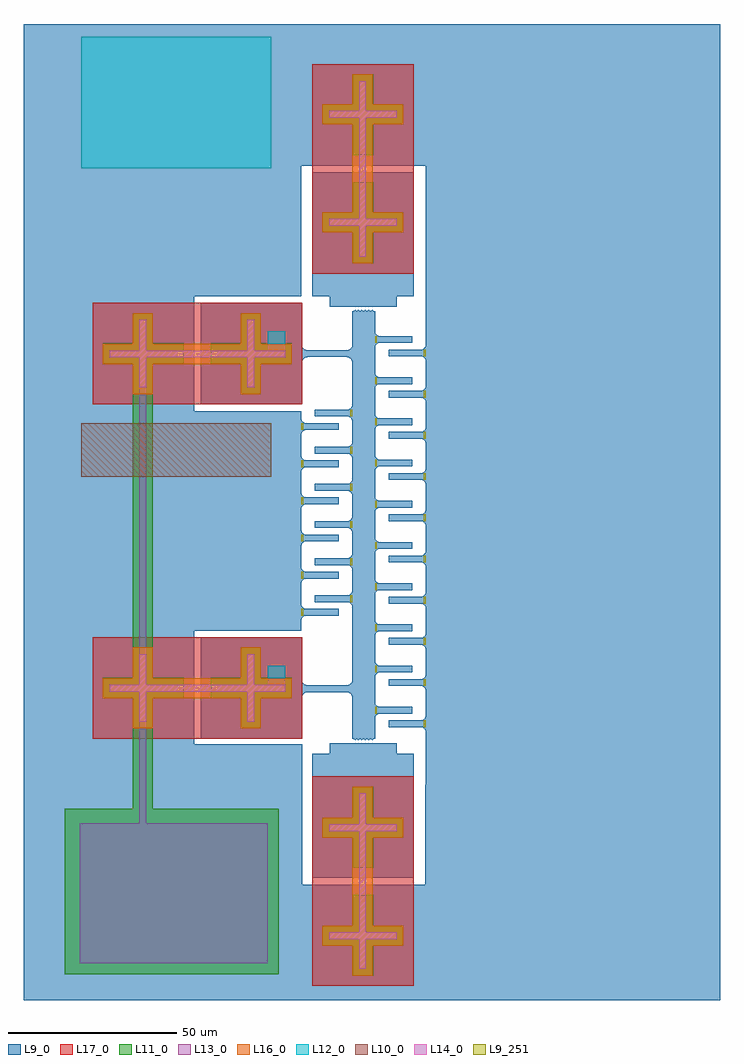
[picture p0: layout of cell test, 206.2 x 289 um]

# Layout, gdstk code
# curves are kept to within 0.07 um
import gdstk
lib = gdstk.Library(unit=1e-6, precision=1e-09)
def R(c, l, rs):  # rectangles x0, y0, x1, y1
    for r in rs: c.add(gdstk.rectangle(r[:2], r[2:], *l))
def A(c, l, x, y, w, h, nx, ny, dx, dy):  # array of equal rectangles
    R(c, l, [(x+i*dx, y+j*dy, x+i*dx+w, y+j*dy+h) for i in range(nx) for j in range(ny)])
def P(c, l, *ps):  # polygons
    for p in ps: c.add(gdstk.Polygon(p, *l))
L9_0 = (9, 0)
L9_251 = (9, 251)
L10_0 = (10, 0)
L11_0 = (11, 0)
L12_0 = (12, 0)
L13_0 = (13, 0)
L14_0 = (14, 0)
L16_0 = (16, 0)
L17_0 = (17, 0)

test = lib.new_cell('test')
A(test, L9_0, 108, 80.8, 11, 2, 1, 10, 0, 12.2)
A(test, L9_0, 104, 84.8, 11, 2, 1, 10, 0, 12.2)
A(test, L9_0, 82.2, 113.8, 11, 2, 1, 6, 0, 11)
A(test, L9_0, 86.2, 117.8, 11, 2, 1, 6, 0, 11)
R(test, L9_0, [(0,0,17,289), (17,0,50.4,218.6), (50.4,0,85.4,34.2), (85.4,0,115.4,4.2), (115.4,0,206.2,34.2), (85.4,4.2,115.4,34.2), (50.4,34.2,82.4,75.7), (118.8,34.2,206.2,63.7), (85.4,36.2,115.4,66.2), (119,63.7,206.2,247.1), (85.4,66.2,115.4,72.9), (90.6,72.9,110.5,76), (20.4,77.4,50.4,107.4), (52.4,77.4,82.4,107.4), (52.4,77.4,82.4,107.4), (97.2,77.4,104,203.9), (82.4,91.2,97.2,93.2), (50.4,109.4,82.2,174.4), (20.4,176.4,50.4,206.4), (52.4,176.4,82.4,206.4), (52.4,176.4,82.4,206.4), (83.9,190.4,95.673,192.4), (90.6,205.3,110.5,208.4), (50.4,208.4,82.2,218.6), (85.4,208.4,115.4,215.1), (85.4,215.1,115.4,245.1), (17,218.6,82.2,289), (82.2,247.1,85.4,289), (85.4,247.1,115.4,277.1), (115.4,247.1,206.2,289), (85.4,277.1,115.4,289)])
P(test, L9_0, [(82.2,167.8),(82.2,168.8),(83.2,168.8),(82.88,168.629),(82.6,168.4),(82.371,168.12)],
  [(82.2,171.8),(82.2,170.8),(83.2,170.8),(82.88,170.971),(82.6,171.2),(82.371,171.48)],
  [(97.2,171.8),(97.2,172.8),(96.2,172.8),(96.52,172.629),(96.8,172.4),(97.029,172.12)],
  [(97.2,175.8),(97.2,174.8),(96.2,174.8),(96.52,174.971),(96.8,175.2),(97.029,175.48)],
  [(82.2,156.8),(82.2,157.8),(83.2,157.8),(82.88,157.629),(82.6,157.4),(82.371,157.12)],
  [(82.2,160.8),(82.2,159.8),(83.2,159.8),(82.88,159.971),(82.6,160.2),(82.371,160.48)],
  [(97.2,160.8),(97.2,161.8),(96.2,161.8),(96.52,161.629),(96.8,161.4),(97.029,161.12)],
  [(97.2,164.8),(97.2,163.8),(96.2,163.8),(96.52,163.971),(96.8,164.2),(97.029,164.48)],
  [(82.2,145.8),(82.2,146.8),(83.2,146.8),(82.88,146.629),(82.6,146.4),(82.371,146.12)],
  [(82.2,149.8),(82.2,148.8),(83.2,148.8),(82.88,148.971),(82.6,149.2),(82.371,149.48)],
  [(97.2,149.8),(97.2,150.8),(96.2,150.8),(96.52,150.629),(96.8,150.4),(97.029,150.12)],
  [(97.2,153.8),(97.2,152.8),(96.2,152.8),(96.52,152.971),(96.8,153.2),(97.029,153.48)],
  [(82.2,134.8),(82.2,135.8),(83.2,135.8),(82.88,135.629),(82.6,135.4),(82.371,135.12)],
  [(82.2,138.8),(82.2,137.8),(83.2,137.8),(82.88,137.971),(82.6,138.2),(82.371,138.48)],
  [(97.2,138.8),(97.2,139.8),(96.2,139.8),(96.52,139.629),(96.8,139.4),(97.029,139.12)],
  [(97.2,142.8),(97.2,141.8),(96.2,141.8),(96.52,141.971),(96.8,142.2),(97.029,142.48)],
  [(82.2,123.8),(82.2,124.8),(83.2,124.8),(82.88,124.629),(82.6,124.4),(82.371,124.12)],
  [(82.2,127.8),(82.2,126.8),(83.2,126.8),(82.88,126.971),(82.6,127.2),(82.371,127.48)],
  [(97.2,127.8),(97.2,128.8),(96.2,128.8),(96.52,128.629),(96.8,128.4),(97.029,128.12)],
  [(97.2,131.8),(97.2,130.8),(96.2,130.8),(96.52,130.971),(96.8,131.2),(97.029,131.48)],
  [(82.2,112.8),(82.2,113.8),(83.2,113.8),(82.88,113.629),(82.6,113.4),(82.371,113.12)],
  [(82.2,116.8),(82.2,115.8),(83.2,115.8),(82.88,115.971),(82.6,116.2),(82.371,116.48)],
  [(97.2,116.8),(97.2,117.8),(96.2,117.8),(96.52,117.629),(96.8,117.4),(97.029,117.12)],
  [(97.2,120.8),(97.2,119.8),(96.2,119.8),(96.52,119.971),(96.8,120.2),(97.029,120.48)],
  [(119,189.6),(119,190.6),(118,190.6),(118.32,190.429),(118.6,190.2),(118.829,189.92)],
  [(119,193.6),(119,192.6),(118,192.6),(118.32,192.771),(118.6,193),(118.829,193.28)],
  [(104,193.6),(104,194.6),(105,194.6),(104.68,194.429),(104.4,194.2),(104.171,193.92)],
  [(104,197.6),(104,196.6),(105,196.6),(104.68,196.771),(104.4,197),(104.171,197.28)],
  [(119,177.4),(119,178.4),(118,178.4),(118.32,178.229),(118.6,178),(118.829,177.72)],
  [(119,181.4),(119,180.4),(118,180.4),(118.32,180.571),(118.6,180.8),(118.829,181.08)],
  [(104,181.4),(104,182.4),(105,182.4),(104.68,182.229),(104.4,182),(104.171,181.72)],
  [(104,185.4),(104,184.4),(105,184.4),(104.68,184.571),(104.4,184.8),(104.171,185.08)],
  [(119,165.2),(119,166.2),(118,166.2),(118.32,166.029),(118.6,165.8),(118.829,165.52)],
  [(119,169.2),(119,168.2),(118,168.2),(118.32,168.371),(118.6,168.6),(118.829,168.88)],
  [(104,169.2),(104,170.2),(105,170.2),(104.68,170.029),(104.4,169.8),(104.171,169.52)],
  [(104,173.2),(104,172.2),(105,172.2),(104.68,172.371),(104.4,172.6),(104.171,172.88)],
  [(119,153),(119,154),(118,154),(118.32,153.829),(118.6,153.6),(118.829,153.32)],
  [(119,157),(119,156),(118,156),(118.32,156.171),(118.6,156.4),(118.829,156.68)],
  [(104,157),(104,158),(105,158),(104.68,157.829),(104.4,157.6),(104.171,157.32)],
  [(104,161),(104,160),(105,160),(104.68,160.171),(104.4,160.4),(104.171,160.68)],
  [(119,140.8),(119,141.8),(118,141.8),(118.32,141.629),(118.6,141.4),(118.829,141.12)],
  [(119,144.8),(119,143.8),(118,143.8),(118.32,143.971),(118.6,144.2),(118.829,144.48)],
  [(104,144.8),(104,145.8),(105,145.8),(104.68,145.629),(104.4,145.4),(104.171,145.12)],
  [(104,148.8),(104,147.8),(105,147.8),(104.68,147.971),(104.4,148.2),(104.171,148.48)],
  [(119,128.6),(119,129.6),(118,129.6),(118.32,129.429),(118.6,129.2),(118.829,128.92)],
  [(119,132.6),(119,131.6),(118,131.6),(118.32,131.771),(118.6,132),(118.829,132.28)],
  [(104,132.6),(104,133.6),(105,133.6),(104.68,133.429),(104.4,133.2),(104.171,132.92)],
  [(104,136.6),(104,135.6),(105,135.6),(104.68,135.771),(104.4,136),(104.171,136.28)],
  [(119,116.4),(119,117.4),(118,117.4),(118.32,117.229),(118.6,117),(118.829,116.72)],
  [(119,120.4),(119,119.4),(118,119.4),(118.32,119.571),(118.6,119.8),(118.829,120.08)],
  [(104,120.4),(104,121.4),(105,121.4),(104.68,121.229),(104.4,121),(104.171,120.72)],
  [(104,124.4),(104,123.4),(105,123.4),(104.68,123.571),(104.4,123.8),(104.171,124.08)],
  [(119,104.2),(119,105.2),(118,105.2),(118.32,105.029),(118.6,104.8),(118.829,104.52)],
  [(119,108.2),(119,107.2),(118,107.2),(118.32,107.371),(118.6,107.6),(118.829,107.88)],
  [(104,108.2),(104,109.2),(105,109.2),(104.68,109.029),(104.4,108.8),(104.171,108.52)],
  [(104,112.2),(104,111.2),(105,111.2),(104.68,111.371),(104.4,111.6),(104.171,111.88)],
  [(119,92),(119,93),(118,93),(118.32,92.829),(118.6,92.6),(118.829,92.32)],
  [(119,96),(119,95),(118,95),(118.32,95.171),(118.6,95.4),(118.829,95.68)],
  [(104,96),(104,97),(105,97),(104.68,96.829),(104.4,96.6),(104.171,96.32)],
  [(104,100),(104,99),(105,99),(104.68,99.171),(104.4,99.4),(104.171,99.68)],
  [(119,79.8),(119,80.8),(118,80.8),(118.32,80.629),(118.6,80.4),(118.829,80.12)],
  [(119,83.8),(119,82.8),(118,82.8),(118.32,82.971),(118.6,83.2),(118.829,83.48)],
  [(104,83.8),(104,84.8),(105,84.8),(104.68,84.629),(104.4,84.4),(104.171,84.12)],
  [(104,87.8),(104,86.8),(105,86.8),(104.68,86.971),(104.4,87.2),(104.171,87.48)],
  [(84,192.4),(83.508,192.465),(83.054,192.665),(82.674,192.986),(82.4,193.4),(82.4,189.2),(82.646,189.667),(83.017,190.041),(83.48,190.293),(83.996,190.4)],
  [(97.6,77.4),(98.1,76.9),(98.6,77.4)],
  [(97.6,203.9),(98.1,204.4),(98.6,203.9)],
  [(95.6,93.2),(96.092,93.265),(96.546,93.465),(96.926,93.786),(97.2,94.2),(97.2,90),(96.954,90.467),(96.583,90.841),(96.12,91.093),(95.604,91.2)],
  [(84,93.2),(83.508,93.265),(83.054,93.465),(82.674,93.786),(82.4,94.2),(82.4,90),(82.646,90.467),(83.017,90.841),(83.48,91.093),(83.996,91.2)],
  [(95.6,192.4),(96.092,192.465),(96.546,192.665),(96.926,192.986),(97.2,193.4),(97.2,189.2),(96.954,189.667),(96.583,190.041),(96.12,190.293),(95.604,190.4)],
  [(98.6,77.4),(99.1,76.9),(99.6,77.4)],
  [(99.6,77.4),(100.1,76.9),(100.6,77.4)],
  [(100.6,77.4),(101.1,76.9),(101.6,77.4)],
  [(101.6,77.4),(102.1,76.9),(102.6,77.4)],
  [(102.6,77.4),(103.1,76.9),(103.6,77.4)],
  [(102.6,203.9),(103.1,204.4),(103.6,203.9)],
  [(101.6,203.9),(102.1,204.4),(102.6,203.9)],
  [(100.6,203.9),(101.1,204.4),(101.6,203.9)],
  [(99.6,203.9),(100.1,204.4),(100.6,203.9)],
  [(98.6,203.9),(99.1,204.4),(99.6,203.9)])
A(test, L9_251, 118.4, 80.8, 0.6, 2, 1, 10, 0, 12.2)
A(test, L9_251, 104, 84.8, 0.5, 2, 1, 10, 0, 12.2)
A(test, L9_251, 82.2, 113.8, 0.6, 2, 1, 6, 0, 11)
A(test, L9_251, 96.7, 117.8, 0.5, 2, 1, 6, 0, 11)
R(test, L10_0, [(17,154.9,73.3,170.8)])
R(test, L11_0, [(97.4,7.2,103.4,31.2), (12.1,7.6,75.5,56.6), (88.4,16,112.4,22), (97.4,39.2,103.4,63.2), (88.4,48,112.4,54), (32.2,80.4,38.2,104.4), (64.2,80.4,70.2,104.4), (23.4,89.4,47.4,95.4), (55.4,89.4,79.4,95.4), (32.2,179.4,38.2,203.4), (64.2,179.4,70.2,203.4), (23.4,188.4,47.4,194.4), (55.4,188.4,79.4,194.4), (97.4,218.1,103.4,242.1), (88.4,227.3,112.4,233.3), (97.4,250.1,103.4,274.1), (88.4,259.3,112.4,265.3)])
R(test, L12_0, [(72.2,95.3,77.4,99), (72.2,194.3,77.4,198), (17,246.3,73.3,285.2)])
R(test, L13_0, [(99.4,9.2,101.4,29.2), (16.6,10.9,72.3,52.3), (90.4,18,110.4,20), (99.4,41.2,101.4,61.2), (90.4,50,110.4,52), (34.2,82.4,36.2,102.4), (66.2,82.4,68.2,102.4), (25.4,91.4,45.4,93.4), (57.4,91.4,77.4,93.4), (72.2,93.3,77.4,95.3), (34.2,181.4,36.2,201.4), (66.2,181.4,68.2,201.4), (25.4,190.4,45.4,192.4), (57.4,190.4,77.4,192.4), (72.2,192.3,77.4,194.3), (99.4,220.1,101.4,240.1), (90.4,229.3,110.4,231.3), (99.4,252.1,101.4,272.1), (90.4,261.3,110.4,263.3)])
R(test, L14_0, [(99.3,9.2,101.3,29.2), (90.4,18,110.4,20), (99.3,29.2,101.3,41.2), (99.3,41.2,101.3,61.2), (90.4,50,110.4,52), (34.2,82.4,36.2,102.4), (66.2,82.4,68.2,102.4), (25.4,91.3,45.4,93.3), (45.4,91.3,57.4,93.3), (57.4,91.3,77.4,93.3), (34.2,181.4,36.2,201.4), (66.2,181.4,68.2,201.4), (25.4,190.3,45.4,192.3), (45.4,190.3,57.4,192.3), (57.4,190.3,77.4,192.3), (99.3,220.1,101.3,240.1), (90.4,229.3,110.4,231.3), (99.3,240.1,101.3,252.1), (99.3,252.1,101.3,272.1), (90.4,261.3,110.4,263.3)])
R(test, L16_0, [(97.3,7.2,103.3,31.2), (88.4,16,112.4,22), (97.3,31.2,103.3,39.2), (97.3,39.2,103.3,63.2), (88.4,48,112.4,54), (32.2,80.4,38.2,104.4), (64.2,80.4,70.2,104.4), (23.4,89.3,47.4,95.3), (47.4,89.3,55.4,95.3), (55.4,89.3,79.4,95.3), (32.2,179.4,38.2,203.4), (64.2,179.4,70.2,203.4), (23.4,188.3,47.4,194.3), (47.4,188.3,55.4,194.3), (55.4,188.3,79.4,194.3), (97.3,218.1,103.3,242.1), (88.4,227.3,112.4,233.3), (97.3,242.1,103.3,250.1), (97.3,250.1,103.3,274.1), (88.4,259.3,112.4,265.3)])
R(test, L17_0, [(85.4,4.2,115.4,34.2), (85.4,34.2,115.4,36.2), (85.4,36.2,115.4,66.2), (20.4,77.4,50.4,107.4), (20.4,77.4,82.4,107.4), (50.4,77.4,52.4,107.4), (52.4,77.4,82.4,107.4), (20.4,176.4,50.4,206.4), (20.4,176.4,82.4,206.4), (50.4,176.4,52.4,206.4), (52.4,176.4,82.4,206.4), (85.4,215.1,115.4,245.1), (85.4,245.1,115.4,247.1), (85.4,247.1,115.4,277.1)])
test.add(gdstk.FlexPath([(35.2,56.6),(35.2,80.4)], 6, ends="flush", simple_path=True, layer=11, datatype=0))  # L11_0
test.add(gdstk.FlexPath([(35.2,104.4),(35.2,179.4)], 6, ends="flush", simple_path=True, layer=11, datatype=0))  # L11_0
test.add(gdstk.FlexPath([(35.2,52.3),(35.2,82.4)], 2, ends="flush", simple_path=True, layer=13, datatype=0))  # L13_0
test.add(gdstk.FlexPath([(35.2,102.4),(35.2,181.4)], 2, ends="flush", simple_path=True, layer=13, datatype=0))  # L13_0

lib.write_gds('test.gds')
